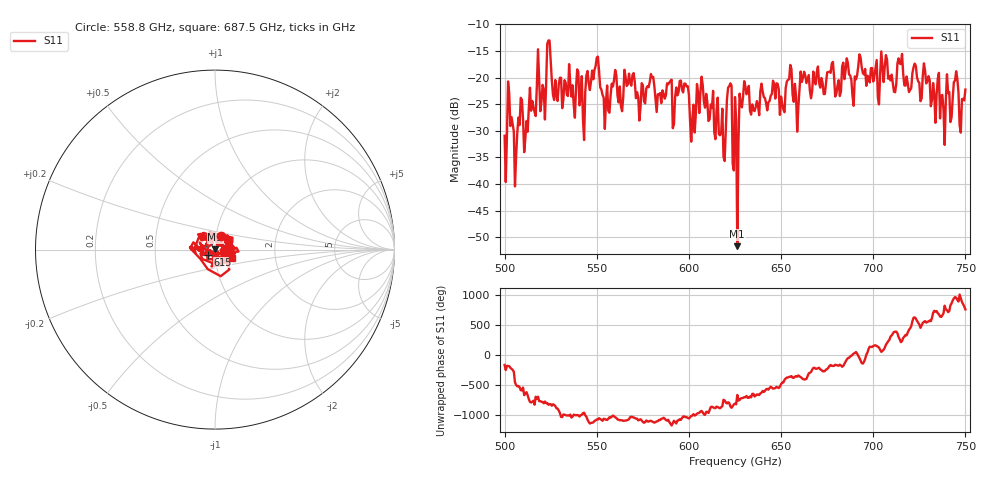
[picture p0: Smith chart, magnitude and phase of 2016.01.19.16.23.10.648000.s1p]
!Created with skrf (http://scikit-rf.org).
# GHz S RI R 50.0
!freq ReS11 ImS11
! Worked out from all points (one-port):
!   401 points, 500 GHz to 750 GHz, reference 50 ohm
!   lowest |S11| = -51.7 dB at 626.2 GHz (marker M1), VSWR 1.01, Z = 50.2 + j0.197 ohm
!   |S11| at or under -10 dB: start of sweep to end of sweep
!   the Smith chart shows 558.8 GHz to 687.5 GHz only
!   S11 on the Smith chart (normalised r, x): 558.8 GHz: 1.06, +0.16; 615 GHz: 0.92, -0.05; 687.5 GHz: 1.20, -0.12
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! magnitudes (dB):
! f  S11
! 500 GHz  -30.9
! 503.1 GHz  -29.1
! 505.6 GHz  -40.5
! 508.8 GHz  -23.8
! 511.2 GHz  -31.5
! 517.5 GHz  -21.4
! 520.6 GHz  -21.4
! 523.8 GHz  -13.0
! 527.5 GHz  -20.5
! 531.2 GHz  -25.8
! 541.9 GHz  -19.7
! 550 GHz  -16.2
! 555.6 GHz  -21.5
! 558.8 GHz  -21.7
! 562.5 GHz  -21.7
! 593.8 GHz  -23.4
! 615 GHz  -26.1
! 618.8 GHz  -34.9
! 621.9 GHz  -21.6
! 625 GHz  -23.7
! 626.2 GHz  -51.7
! 631.2 GHz  -23.1
! 650.6 GHz  -25.0
! 656.2 GHz  -23.3
! 687.5 GHz  -19.6
! 714.4 GHz  -17.4
! 718.8 GHz  -21.2
! 750 GHz  -22.3
